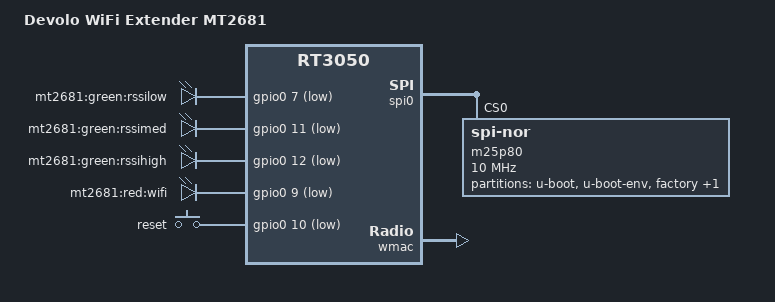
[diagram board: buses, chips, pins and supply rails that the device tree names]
/dts-v1/;

#include "rt3050.dtsi"

/ {
	compatible = "ralink,rt3050-soc";
	model = "Devolo WiFi Extender MT2681";

	gpio-leds {
		compatible = "gpio-leds";

		rssilow {
			label = "mt2681:green:rssilow";
			gpios = <&gpio0 7 1>;
		};

		rssimed {
			label = "mt2681:green:rssimed";
			gpios = <&gpio0 11 1>;
		};

		rssihigh {
			label = "mt2681:green:rssihigh";
			gpios = <&gpio0 12 1>;
		};

        wifi {
            label = "mt2681:red:wifi";
            gpios = <&gpio0 9 1>;
        };
	};

	gpio-keys-polled {
		compatible = "gpio-keys-polled";
		#address-cells = <1>;
		#size-cells = <0>;
		poll-interval = <20>;

		reset {
			label = "reset";
			gpios = <&gpio0 10 1>;
			linux,code = <0x198>;
		};
	};
};

&gpio0 {
	status = "okay";
};

&spi0 {
	status = "okay";

	m25p80@0 {
		#address-cells = <1>;
		#size-cells = <1>;
		compatible = "jedec,spi-nor";
		reg = <0>;
		linux,modalias = "m25p80", "mx25l3205d";
		spi-max-frequency = <10000000>;

		partition@0 {
			label = "u-boot";
			reg = <0x0 0x30000>;
			read-only;
		};

		partition@30000 {
			label = "u-boot-env";
			reg = <0x30000 0x10000>;
			read-only;
		};

		factory: partition@40000 {
			label = "factory";
			reg = <0x40000 0x10000>;
			read-only;
		};

		partition@50000 {
			label = "firmware";
			reg = <0x50000 0x7b0000>;
		};
	};
};

&pinctrl {
	state_default: pinctrl0 {
		gpio {
			ralink,group = "i2c", "jtag", "rgmii", "mdio", "uartf";
			ralink,function = "gpio";
		};
	};
};

&ethernet {
	mtd-mac-address = <&factory 0x28>;
};

&esw {
	mediatek,portmap = <0x3f>;
};

&wmac {
	ralink,mtd-eeprom = <&factory 0>;
};
